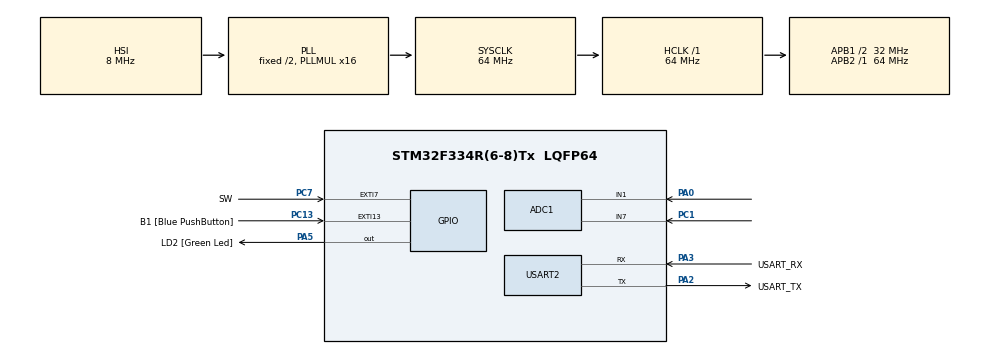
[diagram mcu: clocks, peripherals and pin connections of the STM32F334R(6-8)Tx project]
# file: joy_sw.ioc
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ADC1.Channel-0\#ChannelRegularConversion=ADC_CHANNEL_1
ADC1.Channel-1\#ChannelRegularConversion=ADC_CHANNEL_7
ADC1.ClockPrescaler=ADC_CLOCK_SYNC_PCLK_DIV4
ADC1.ContinuousConvMode=ENABLE
ADC1.EOCSelection=ADC_EOC_SINGLE_CONV
ADC1.NbrOfConversion=2
ADC1.NbrOfConversionFlag=1
ADC1.Offset-0\#ChannelRegularConversion=0
ADC1.Offset-1\#ChannelRegularConversion=0
ADC1.OffsetNumber-0\#ChannelRegularConversion=ADC_OFFSET_NONE
ADC1.OffsetNumber-1\#ChannelRegularConversion=ADC_OFFSET_NONE
ADC1.Rank-0\#ChannelRegularConversion=1
ADC1.Rank-1\#ChannelRegularConversion=2
ADC1.SamplingTime-0\#ChannelRegularConversion=ADC_SAMPLETIME_7CYCLES_5
ADC1.SamplingTime-1\#ChannelRegularConversion=ADC_SAMPLETIME_7CYCLES_5
ADC1.master=1
Mcu.Family=STM32F3
Mcu.Name=STM32F334R(6-8)Tx
Mcu.Package=LQFP64
NVIC.EXTI15_10_IRQn=true\:0\:0\:false\:false\:true\:true\:true\:true
NVIC.EXTI9_5_IRQn=true\:0\:0\:false\:false\:true\:true\:true\:true
NVIC.PriorityGroup=NVIC_PRIORITYGROUP_0
PA0.Mode=IN1-Single-Ended
PA0.Signal=ADC1_IN1
PA13.GPIO_Label=TMS
PA13.Mode=Serial_Wire
PA13.Signal=SYS_JTMS-SWDIO
PA14.GPIO_Label=TCK
PA14.Mode=Serial_Wire
PA14.Signal=SYS_JTCK-SWCLK
PA2.GPIO_Label=USART_TX
PA2.Mode=Asynchronous
PA2.Signal=USART2_TX
PA3.GPIO_Label=USART_RX
PA3.Mode=Asynchronous
PA3.Signal=USART2_RX
PA5.GPIO_Label=LD2 [Green Led]
PA5.Signal=GPIO_Output
PB3.GPIO_Label=SWO
PB3.Signal=SYS_JTDO-TRACESWO
PC1.Signal=ADCx_IN7
PC13.GPIO_Label=B1 [Blue PushButton]
PC13.GPIO_ModeDefaultEXTI=GPIO_MODE_IT_FALLING
PC13.Signal=GPXTI13
PC14\ /\ OSC32_IN.Signal=RCC_OSC32_IN
PC15\ /\ OSC32_OUT.GPIO_Label=RCC_OSC32_OUT
PC15\ /\ OSC32_OUT.Signal=RCC_OSC32_OUT
PC7.GPIO_Label=SW
PC7.Signal=GPXTI7
PF0\ /\ OSC_IN.Signal=RCC_OSC_IN
PF1\ /\ OSC_OUT.Signal=RCC_OSC_OUT
ProjectManager.HeapSize=0x200
ProjectManager.StackSize=0x400
ProjectManager.TargetToolchain=STM32CubeIDE
RCC.AHBFreq_Value=64000000
RCC.APB1CLKDivider=RCC_HCLK_DIV2
RCC.APB1Freq_Value=32000000
RCC.APB1TimFreq_Value=64000000
RCC.APB2Freq_Value=64000000
RCC.APB2TimFreq_Value=64000000
RCC.CortexFreq_Value=64000000
RCC.FLatency-AdvancedSettings=FLASH_LATENCY_2
RCC.HCLKFreq_Value=64000000
RCC.HSE_VALUE=8000000
RCC.HSI_VALUE=8000000
RCC.PLLMUL=RCC_PLL_MUL16
RCC.SYSCLKFreq_VALUE=64000000
RCC.SYSCLKSourceVirtual=RCC_SYSCLKSOURCE_PLLCLK
SH.ADCx_IN7.0=ADC1_IN7,IN7-Single-Ended
USART2.VirtualMode-Asynchronous=VM_ASYNC
board=NUCLEO-F334R8

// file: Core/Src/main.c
/* USER CODE BEGIN Header */
/**
  ******************************************************************************
  * @file           : main.c
  * @brief          : Main program body
  ******************************************************************************
  * @attention
  *
  * Copyright (c) 2022 STMicroelectronics.
  * All rights reserved.
  *
  * This software is licensed under terms that can be found in the LICENSE file
  * in the root directory of this software component.
  * If no LICENSE file comes with this software, it is provided AS-IS.
  *
  ******************************************************************************
  */
/* USER CODE END Header */
#include "main.h"

/* USER CODE BEGIN Includes */
#include "stdio.h"
/* USER CODE END Includes */

/* USER CODE BEGIN PD */
	uint16_t uwADCxConvertedValue[2];
	uint16_t SW = 0;
/* USER CODE END PD */

ADC_HandleTypeDef hadc1;

UART_HandleTypeDef huart2;

void SystemClock_Config(void);
static void MX_GPIO_Init(void);
static void MX_USART2_UART_Init(void);
static void MX_ADC1_Init(void);

/* USER CODE BEGIN 0 */
#ifdef __GNUC__
/* With GCC, small printf (option LD Linker->Libraries->Small printf
set to 'Yes') calls __io_putchar() */
#define PUTCHAR_PROTOTYPE int __io_putchar(int ch)
#else
#define PUTCHAR_PROTOTYPE int fputc(int ch, FILE *f)
#endif /* __GNUC__ */
/**
* @brief Retargets the C library printf function to the USART.
* @param None
* @retval None
*/
PUTCHAR_PROTOTYPE
{
/* Place your implementation of fputc here */
/* e.g. write a character to the USART1 and Loop until the end of transmission */
if (ch == '\n')
HAL_UART_Transmit (&huart2, (uint8_t*) "\r", 1, 0xFFFF);
HAL_UART_Transmit (&huart2, (uint8_t*) &ch, 1, 0xFFFF);
return ch;
}
/* USER CODE END 0 */

int main(void)
{

  /* MCU Configuration--------------------------------------------------------*/

  /* Reset of all peripherals, Initializes the Flash interface and the Systick. */
  HAL_Init();

  /* Configure the system clock */
  SystemClock_Config();

  /* Initialize all configured peripherals */
  MX_GPIO_Init();
  MX_USART2_UART_Init();
  MX_ADC1_Init();
  /* USER CODE BEGIN 2 */
  if( HAL_ADCEx_Calibration_Start(&hadc1, ADC_CHANNEL_1) != HAL_OK ){
	  Error_Handler();
  }
  if( HAL_ADCEx_Calibration_Start(&hadc1, ADC_CHANNEL_7) != HAL_OK ){
  	  Error_Handler();
    }
  /* USER CODE END 2 */

  /* Infinite loop */
  /* USER CODE BEGIN WHILE */
  while (1)
  {
	  if (HAL_ADC_Start (&hadc1) != HAL_OK)
	  		{

	  		Error_Handler ();
	  		}

	  	  for (uint8_t i = 0; i < 2; i++)
	  	  {
	  	  /* ### - 5 - Wait for the end of conversion ############## */

	  	  HAL_ADC_PollForConversion (&hadc1, 100);

	  	  /* Check if the continuous conversion of regular channel is finished */
	  	  if ((HAL_ADC_GetState (&hadc1) & HAL_ADC_STATE_REG_EOC) == HAL_ADC_STATE_REG_EOC)
	  	  {
	  	  /* ### - 6 - Get the converted value of regular channel ############ */
	  	  uwADCxConvertedValue[i] = HAL_ADC_GetValue (&hadc1);
	  	  }
	  	  }

	  	  //if (HAL_GPIO_ReadPin(SW_GPIO_Port, SW_Pin)) SW = 5000;
	  	  //else SW = 0;

	  	  HAL_ADC_Stop (&hadc1);

	  	  printf ("%4d, %4d, %4d \n", uwADCxConvertedValue[0], uwADCxConvertedValue[1], SW);
	  	  HAL_Delay (100);
    /* USER CODE END WHILE */

  }
}

void SystemClock_Config(void)
{
  RCC_OscInitTypeDef RCC_OscInitStruct = {0};
  RCC_ClkInitTypeDef RCC_ClkInitStruct = {0};

  /** Initializes the RCC Oscillators according to the specified parameters
  * in the RCC_OscInitTypeDef structure.
  */
  RCC_OscInitStruct.OscillatorType = RCC_OSCILLATORTYPE_HSI;
  RCC_OscInitStruct.HSIState = RCC_HSI_ON;
  RCC_OscInitStruct.HSICalibrationValue = RCC_HSICALIBRATION_DEFAULT;
  RCC_OscInitStruct.PLL.PLLState = RCC_PLL_ON;
  RCC_OscInitStruct.PLL.PLLSource = RCC_PLLSOURCE_HSI;
  RCC_OscInitStruct.PLL.PLLMUL = RCC_PLL_MUL16;
  if (HAL_RCC_OscConfig(&RCC_OscInitStruct) != HAL_OK)
  {
    Error_Handler();
  }

  /** Initializes the CPU, AHB and APB buses clocks
  */
  RCC_ClkInitStruct.ClockType = RCC_CLOCKTYPE_HCLK|RCC_CLOCKTYPE_SYSCLK
                              |RCC_CLOCKTYPE_PCLK1|RCC_CLOCKTYPE_PCLK2;
  RCC_ClkInitStruct.SYSCLKSource = RCC_SYSCLKSOURCE_PLLCLK;
  RCC_ClkInitStruct.AHBCLKDivider = RCC_SYSCLK_DIV1;
  RCC_ClkInitStruct.APB1CLKDivider = RCC_HCLK_DIV2;
  RCC_ClkInitStruct.APB2CLKDivider = RCC_HCLK_DIV1;

  if (HAL_RCC_ClockConfig(&RCC_ClkInitStruct, FLASH_LATENCY_2) != HAL_OK)
  {
    Error_Handler();
  }
}

static void MX_ADC1_Init(void)
{

  ADC_MultiModeTypeDef multimode = {0};
  ADC_ChannelConfTypeDef sConfig = {0};

  /** Common config
  */
  hadc1.Instance = ADC1;
  hadc1.Init.ClockPrescaler = ADC_CLOCK_SYNC_PCLK_DIV4;
  hadc1.Init.Resolution = ADC_RESOLUTION_12B;
  hadc1.Init.ScanConvMode = ADC_SCAN_ENABLE;
  hadc1.Init.ContinuousConvMode = ENABLE;
  hadc1.Init.DiscontinuousConvMode = DISABLE;
  hadc1.Init.ExternalTrigConvEdge = ADC_EXTERNALTRIGCONVEDGE_NONE;
  hadc1.Init.ExternalTrigConv = ADC_SOFTWARE_START;
  hadc1.Init.DataAlign = ADC_DATAALIGN_RIGHT;
  hadc1.Init.NbrOfConversion = 2;
  hadc1.Init.DMAContinuousRequests = DISABLE;
  hadc1.Init.EOCSelection = ADC_EOC_SINGLE_CONV;
  hadc1.Init.LowPowerAutoWait = DISABLE;
  hadc1.Init.Overrun = ADC_OVR_DATA_OVERWRITTEN;
  if (HAL_ADC_Init(&hadc1) != HAL_OK)
  {
    Error_Handler();
  }

  /** Configure the ADC multi-mode
  */
  multimode.Mode = ADC_MODE_INDEPENDENT;
  if (HAL_ADCEx_MultiModeConfigChannel(&hadc1, &multimode) != HAL_OK)
  {
    Error_Handler();
  }

  /** Configure Regular Channel
  */
  sConfig.Channel = ADC_CHANNEL_1;
  sConfig.Rank = ADC_REGULAR_RANK_1;
  sConfig.SingleDiff = ADC_SINGLE_ENDED;
  sConfig.SamplingTime = ADC_SAMPLETIME_7CYCLES_5;
  sConfig.OffsetNumber = ADC_OFFSET_NONE;
  sConfig.Offset = 0;
  if (HAL_ADC_ConfigChannel(&hadc1, &sConfig) != HAL_OK)
  {
    Error_Handler();
  }

  /** Configure Regular Channel
  */
  sConfig.Channel = ADC_CHANNEL_7;
  sConfig.Rank = ADC_REGULAR_RANK_2;
  if (HAL_ADC_ConfigChannel(&hadc1, &sConfig) != HAL_OK)
  {
    Error_Handler();
  }

}

static void MX_USART2_UART_Init(void)
{

  huart2.Instance = USART2;
  huart2.Init.BaudRate = 38400;
  huart2.Init.WordLength = UART_WORDLENGTH_8B;
  huart2.Init.StopBits = UART_STOPBITS_1;
  huart2.Init.Parity = UART_PARITY_NONE;
  huart2.Init.Mode = UART_MODE_TX_RX;
  huart2.Init.HwFlowCtl = UART_HWCONTROL_NONE;
  huart2.Init.OverSampling = UART_OVERSAMPLING_16;
  huart2.Init.OneBitSampling = UART_ONE_BIT_SAMPLE_DISABLE;
  huart2.AdvancedInit.AdvFeatureInit = UART_ADVFEATURE_NO_INIT;
  if (HAL_UART_Init(&huart2) != HAL_OK)
  {
    Error_Handler();
  }

}

static void MX_GPIO_Init(void)
{
  GPIO_InitTypeDef GPIO_InitStruct = {0};

  /* GPIO Ports Clock Enable */
  __HAL_RCC_GPIOC_CLK_ENABLE();
  __HAL_RCC_GPIOF_CLK_ENABLE();
  __HAL_RCC_GPIOA_CLK_ENABLE();
  __HAL_RCC_GPIOB_CLK_ENABLE();

  /*Configure GPIO pin Output Level */
  HAL_GPIO_WritePin(LD2_GPIO_Port, LD2_Pin, GPIO_PIN_RESET);

  /*Configure GPIO pin : B1_Pin */
  GPIO_InitStruct.Pin = B1_Pin;
  GPIO_InitStruct.Mode = GPIO_MODE_IT_FALLING;
  GPIO_InitStruct.Pull = GPIO_NOPULL;
  HAL_GPIO_Init(B1_GPIO_Port, &GPIO_InitStruct);

  /*Configure GPIO pin : LD2_Pin */
  GPIO_InitStruct.Pin = LD2_Pin;
  GPIO_InitStruct.Mode = GPIO_MODE_OUTPUT_PP;
  GPIO_InitStruct.Pull = GPIO_NOPULL;
  GPIO_InitStruct.Speed = GPIO_SPEED_FREQ_LOW;
  HAL_GPIO_Init(LD2_GPIO_Port, &GPIO_InitStruct);

  /*Configure GPIO pin : SW_Pin */
  GPIO_InitStruct.Pin = SW_Pin;
  GPIO_InitStruct.Mode = GPIO_MODE_IT_RISING;
  GPIO_InitStruct.Pull = GPIO_NOPULL;
  HAL_GPIO_Init(SW_GPIO_Port, &GPIO_InitStruct);

  /* EXTI interrupt init*/
  HAL_NVIC_SetPriority(EXTI9_5_IRQn, 0, 0);
  HAL_NVIC_EnableIRQ(EXTI9_5_IRQn);

  HAL_NVIC_SetPriority(EXTI15_10_IRQn, 0, 0);
  HAL_NVIC_EnableIRQ(EXTI15_10_IRQn);

}

/* USER CODE BEGIN 4 */
void HAL_GPIO_EXTI_Callback (uint16_t GPIO_Pin)
{
switch (GPIO_Pin)
{
case B1_Pin:
	SW = 100;
break;

case SW_Pin:
	SW = 500;
break;

default:
	SW = 0;
;
}
}
/* USER CODE END 4 */

void Error_Handler(void)
{
  __disable_irq();
  while (1)
  {
  }
}
